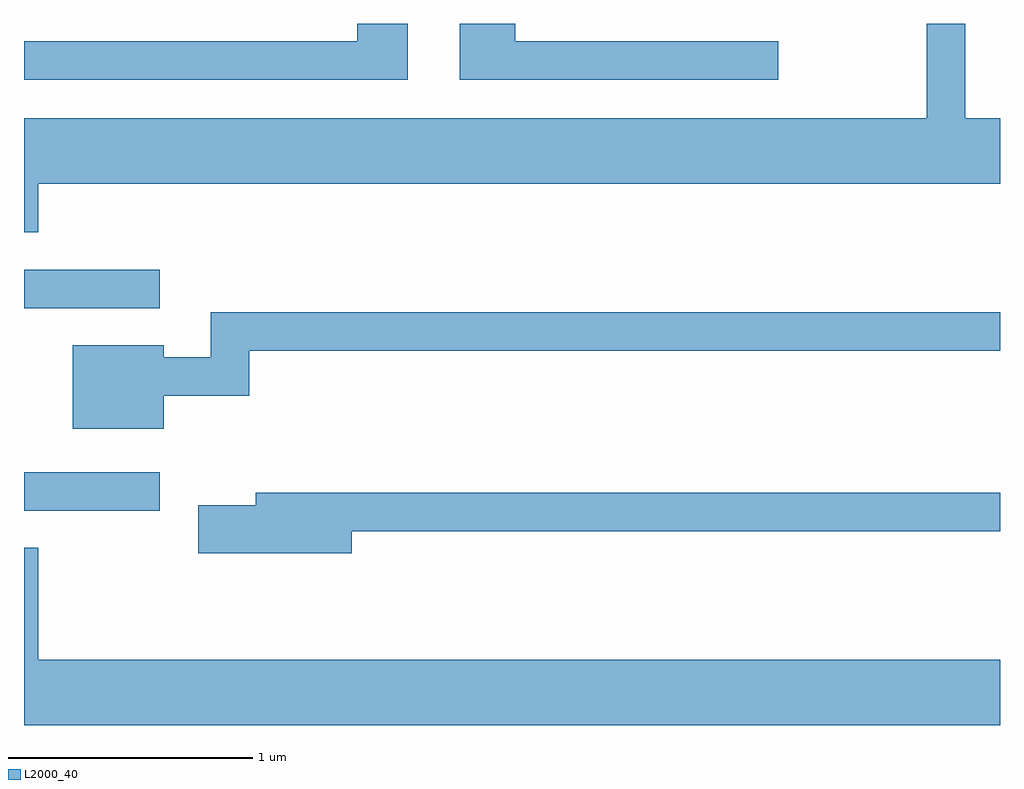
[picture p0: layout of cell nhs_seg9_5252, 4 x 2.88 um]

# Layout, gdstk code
import gdstk
lib = gdstk.Library(unit=1e-6, precision=1e-09)
def R(c, l, rs):  # rectangles x0, y0, x1, y1
    for r in rs: c.add(gdstk.rectangle(r[:2], r[2:], *l))
def P(c, l, *ps):  # polygons
    for p in ps: c.add(gdstk.Polygon(p, *l))
L2000_40 = (2000, 40)

nhs_seg9_5252 = lib.new_cell('nhs_seg9_5252')
R(nhs_seg9_5252, L2000_40, [(339.611,2030.436,340.168,2030.594), (339.611,2031.266,340.168,2031.424)])
P(nhs_seg9_5252, L2000_40, [(339.669,2031.776),(343.611,2031.776),(343.611,2032.044),(343.469,2032.044),(343.469,2032.432),(343.311,2032.432),(343.311,2032.044),(339.611,2032.044),(339.611,2031.576),(339.669,2031.576)],
  [(341.184,2032.432),(340.976,2032.432),(340.976,2032.359),(339.611,2032.359),(339.611,2032.201),(341.184,2032.201)],
  [(342.703,2032.359),(341.624,2032.359),(341.624,2032.432),(341.396,2032.432),(341.396,2032.201),(342.703,2032.201)],
  [(340.184,2030.906),(340.534,2030.906),(340.534,2031.091),(343.611,2031.091),(343.611,2031.249),(340.376,2031.249),(340.376,2031.064),(340.184,2031.064),(340.184,2031.114),(339.811,2031.114),(339.811,2030.771),(340.184,2030.771)],
  [(340.954,2030.351),(343.611,2030.351),(343.611,2030.509),(340.561,2030.509),(340.561,2030.459),(340.326,2030.459),(340.326,2030.261),(340.954,2030.261)],
  [(343.611,2029.824),(339.669,2029.824),(339.669,2030.284),(339.611,2030.284),(339.611,2029.556),(343.611,2029.556)])

lib.write_gds('nhs_seg9_5252.gds')
